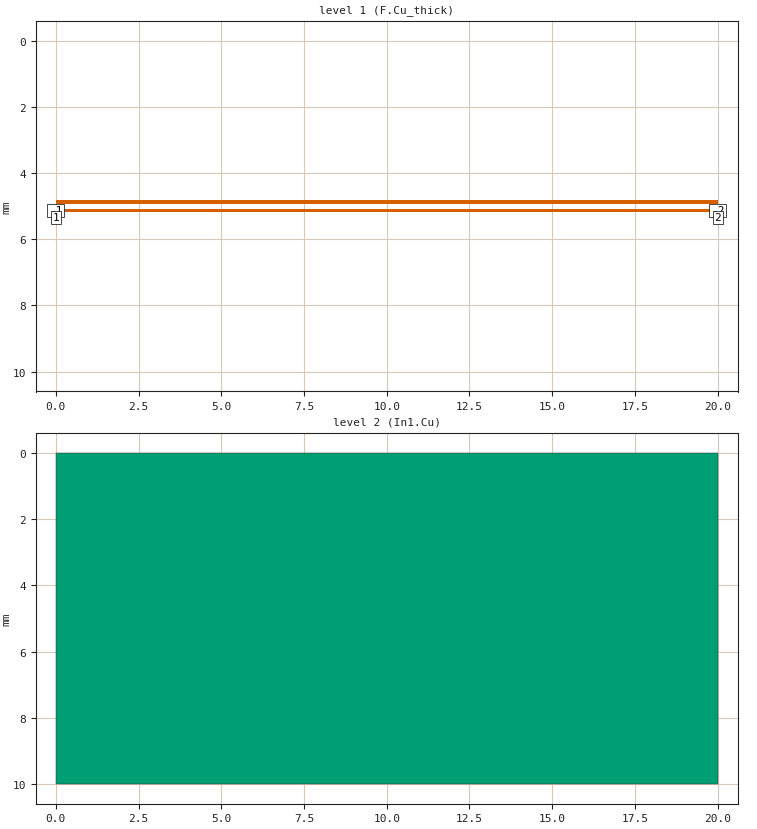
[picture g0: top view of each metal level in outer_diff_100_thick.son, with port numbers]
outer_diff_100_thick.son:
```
FTYP SONPROJ 19 ! Sonnet Project File
VER 18.56
HEADER
LIC antikernel2.1.65565
DAT 12/22/2024 14:17:57
BUILT_BY_CREATED xgeom 18.52 11/18/2021 20:28:07
BUILT_BY_SAVED sonnet 18.56
MDATE 12/22/2024 13:44:50
HDATE 12/22/2024 13:44:50
END HEADER
DIM
ANG DEG
CAP PF
CON /OH
FREQ GHZ
IND NH
LNG MM
RES OH
END DIM
CONTROL
VARSWP
OPTIONS  -dj
SPEED 0
CACHE_ABS 2
Q_ACC N
END CONTROL
GEO
TMET "Free Space" 0 FREESPACE 376.7303136 0 0 0
BMET "Free Space" 0 FREESPACE 376.7303136 0 0 0
MET "Copper_1oz_thin" 1 NOR 58000000 0.5 0.035 
MET "Copper_1oz_thick" 2 TMM 58000000 0.5 0.035 2
MET "Copper_1oz_thick_down" 3 TMM 58000000 0.5 0.035 2 CDVY TDWN
MET "Copper_0.5oz_thin" 4 NOR 58000000 0.5 0.017 
MET "Copper_0.5oz_thick" 12 TMM 58000000 0.5 0.017 2
MET "Copper_0.5oz_thick_down" 5 TMM 58000000 0.5 0.017 2 CDVY TDWN
BOX 8 20 10 800 4000 20 0
      5 1 1 0 0 0 0 "Air"
      0.04 3.5 1 0.025 0 0 0 "Soldermask"
      0.076 4.07 1 0.02 0 0 0 "Shengyi_S1000-2M"
      0.1 4.24 1 0.019 0 0 0 "Shengyi_S1000-2M"
      1.038 4.58 1 0.016 0 0 0 "Shengyi_S1000-2M"
      0.1 4.24 1 0.019 0 0 0 "Shengyi_S1000-2M"
      0.076 4.07 1 0.02 0 0 0 "Shengyi_S1000-2M"
      0.04 3.5 1 0.025 0 0 0 "Soldermask"
      5 1 1 0 0 0 0 "Air"
TECHLAY METAL F.Cu_thin <UNSPECIFIED> -1 -65534 CAD F.Cu_thin drawing 
1 0 0 N 208 1 1 100 100 0 0 0 Y
END
END
TECHLAY METAL F.Cu_thick L1D0 -2 -65534 CAD F.Cu_thick drawing 
1 0 1 N 210 1 1 100 100 0 0 0 Y
END
END
TECHLAY VIA Via1 L7D0 -13 -65534 CAD Via1 drawing 
VIA POLYGON
1 0 -1 N 315 1 1 100 100 0 0 0 Y
TOLEVEL 6 RING NOCOVERS
END
END
TECHLAY METAL In1.Cu L2D0 -3 -65534 CAD In1.Cu drawing 
2 0 0 N 219 1 1 100 100 0 0 0 Y
END
END
TECHLAY METAL In2.Cu_thin L3D0 -4 -65534 CAD In2.Cu drawing 
3 0 3 N 222 1 1 100 100 0 0 0 Y
END
END
TECHLAY METAL In2.Cu_thick <UNSPECIFIED> -5 -65534 CAD In2.Cu_thick drawing 
3 0 4 N 224 1 1 100 100 0 0 0 Y
END
END
TECHLAY METAL In3.Cu <UNSPECIFIED> -6 -65534 CAD In3.Cu drawing 
4 0 0 N 227 1 1 100 100 0 0 0 Y
END
END
TECHLAY METAL In3.Cu_thin L4D0 -8 -65534 CAD In5.Cu drawing 
4 0 3 N 307 1 1 100 100 0 0 0 Y
END
END
TECHLAY METAL In4.Cu L5D0 -10 -65534 CAD In6.Cu drawing 
5 0 0 N 230 1 1 100 100 0 0 0 Y
END
END
TECHLAY METAL B.Cu_thick L6D0 -12 -65534 CAD B.Cu_thick drawing 
6 0 2 N 249 1 1 100 100 0 0 0 Y
END
END
TECHLAY METAL B.Cu_thin <UNSPECIFIED> -11 -65534 CAD B.Cu_thin drawing 
6 0 0 N 247 1 1 100 100 0 0 0 Y
END
END
VALVAR WIDTH LNG 0.1 "Dim. Param."
VALVAR WIDTH2 LNG "WIDTH" "Dim. Param."
VALVAR SPACE LNG 0.15 "Dim. Param."
LORGN 0 10 U 
POR1 BOX
POLY 192 1
3
-1 100 0 0 0 0 5.125 
POR1 BOX
POLY 192 1
1
-2 100 0 0 0 20 5.125 
POR1 BOX
POLY 104 1
3
1 100 0 0 0 0 4.875 
POR1 BOX
POLY 104 1
1
2 100 0 0 0 20 4.875 
NUM 3
1 5 1 N 192 1 1 100 100 0 0 0 Y
TLAYNAM F.Cu_thick INH
0 5.075
20 5.075
20 5.175
0 5.175
0 5.075
END
1 5 1 N 104 1 1 100 100 0 0 0 Y
TLAYNAM F.Cu_thick INH
0 4.825
20 4.825
20 4.925
0 4.925
0 4.825
END
2 5 0 N 103 1 1 100 100 0 0 0 Y
TLAYNAM In1.Cu INH
0 0
20 0
20 10
0 10
0 0
END
END GEO
OPT
MAX 100
END OPT
VARSWP
SWPVARS ON
ENABLED Y
FREQ Y AY ABS_ENTRY 0.01 20.0 -1 300 
VAR WIDTH YG 0.09 
VAR SPACE YG 0.11 
END
END VARSWP
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```
